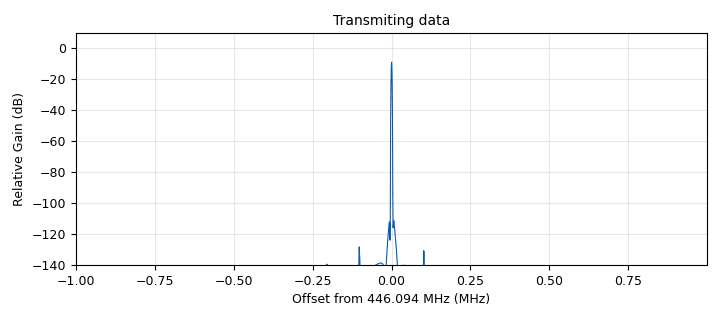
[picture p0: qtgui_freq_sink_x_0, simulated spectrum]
options:
  parameters:
    author: Lime Microsystems
    generate_options: qt_gui
    id: fm_transmitter
    output_language: python
    title: FM transmitter
  states: {}

blocks:
- name: baseband
  id: variable_qtgui_entry
  parameters:
    gui_hint: 0,0,1,2
    label: TX Baseband [MHz]
    type: real
    value: '446.094'
  states: {}
- name: gain
  id: variable_qtgui_range
  parameters:
    gui_hint: 1,0,1,1
    label: Gain [dB]
    min_len: '70'
    orient: Qt.Horizontal
    rangeType: int
    start: '0'
    step: '1'
    stop: '60'
    value: '40'
  states: {}
- name: pa_path
  id: variable_qtgui_chooser
  parameters:
    gui_hint: 1,1,1,1
    label: PA Path
    label0: Auto
    label1: Band1
    label2: Band2
    num_opts: '3'
    option0: '0'
    option1: '1'
    option2: '2'
    type: int
    value: '0'
  states: {}
- name: samp_rate
  id: variable
  parameters:
    value: 2e6
  states: {}
- name: analog_sig_source_x_0
  id: analog_sig_source_x
  parameters:
    amp: '1'
    freq: '100'
    offset: '0'
    phase: '0'
    samp_rate: samp_rate
    type: complex
    waveform: analog.GR_COS_WAVE
  states: {}
- name: blocks_throttle_0
  id: blocks_throttle
  parameters:
    samples_per_second: samp_rate
    type: complex
  states: {}
- name: limesdr_sink_0_0
  id: limesdr_sink
  parameters:
    allow_tcxo_dac: '0'
    channel_mode: '0'
    gain_dB_ch0: gain
    oversample: '0'
    pa_path_ch0: pa_path
    rf_freq: baseband*1e6
    samp_rate: samp_rate
    serial: 00090706024D1312
  states: {}
- name: qtgui_freq_sink_x_0
  id: qtgui_freq_sink_x
  parameters:
    bw: samp_rate
    fc: baseband*1e6
    fftsize: '2048'
    gui_hint: 2,0,1,2
    name: '"Transmiting data"'
    type: complex
    wintype: firdes.WIN_BLACKMAN_hARRIS
  states: {}

connections:
- [analog_sig_source_x_0, '0', blocks_throttle_0, '0']
- [blocks_throttle_0, '0', limesdr_sink_0_0, '0']
- [blocks_throttle_0, '0', qtgui_freq_sink_x_0, '0']

metadata:
  file_format: 1
